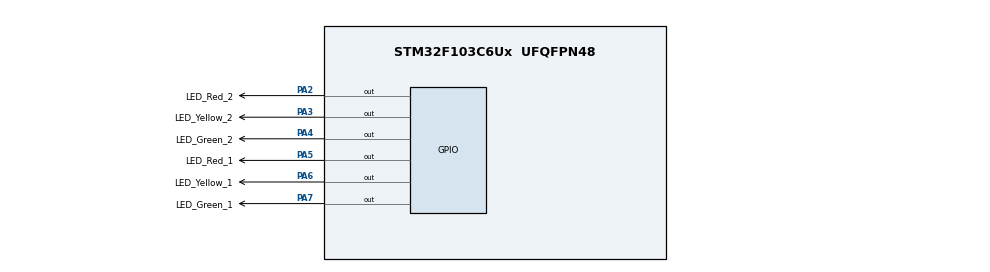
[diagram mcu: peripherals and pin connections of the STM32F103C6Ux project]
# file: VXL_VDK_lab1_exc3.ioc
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Mcu.Family=STM32F1
Mcu.Name=STM32F103C6Ux
Mcu.Package=UFQFPN48
NVIC.PriorityGroup=NVIC_PRIORITYGROUP_4
PA13.Mode=Serial_Wire
PA13.Signal=SYS_JTMS-SWDIO
PA14.Mode=Serial_Wire
PA14.Signal=SYS_JTCK-SWCLK
PA2.GPIO_Label=LED_Red_2
PA2.Signal=GPIO_Output
PA3.GPIO_Label=LED_Yellow_2
PA3.Signal=GPIO_Output
PA4.GPIO_Label=LED_Green_2
PA4.Signal=GPIO_Output
PA5.GPIO_Label=LED_Red_1
PA5.Signal=GPIO_Output
PA6.GPIO_Label=LED_Yellow_1
PA6.Signal=GPIO_Output
PA7.GPIO_Label=LED_Green_1
PA7.Signal=GPIO_Output
ProjectManager.HeapSize=0x200
ProjectManager.StackSize=0x400
ProjectManager.TargetToolchain=STM32CubeIDE
RCC.APB1Freq_Value=8000000
RCC.APB2Freq_Value=8000000
board=custom

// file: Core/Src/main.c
/* USER CODE BEGIN Header */
/**
  ******************************************************************************
  * @file           : main.c
  * @brief          : Main program body
  ******************************************************************************
  * @attention
  *
  * Copyright (c) 2025 STMicroelectronics.
  * All rights reserved.
  *
  * This software is licensed under terms that can be found in the LICENSE file
  * in the root directory of this software component.
  * If no LICENSE file comes with this software, it is provided AS-IS.
  *
  ******************************************************************************
  */
/* USER CODE END Header */
#include "main.h"

/* USER CODE BEGIN Includes */
#include "stdint.h"
/* USER CODE END Includes */

/* USER CODE BEGIN PD */
#define TIMER_SCALE 100
/* USER CODE END PD */

void SystemClock_Config(void);
static void MX_GPIO_Init(void);

int main(void)
{

  /* MCU Configuration--------------------------------------------------------*/

  /* Reset of all peripherals, Initializes the Flash interface and the Systick. */
  HAL_Init();

  /* Configure the system clock */
  SystemClock_Config();

  /* Initialize all configured peripherals */
  MX_GPIO_Init();
  /* USER CODE BEGIN 2 */
  uint16_t led_cnt = 0;

  HAL_GPIO_WritePin(LED_Red_1_GPIO_Port, LED_Red_1_Pin, RESET);
  HAL_GPIO_WritePin(LED_Yellow_1_GPIO_Port, LED_Yellow_1_Pin, SET);
  HAL_GPIO_WritePin(LED_Green_1_GPIO_Port, LED_Green_1_Pin, SET);
  HAL_GPIO_WritePin(LED_Red_2_GPIO_Port, LED_Red_2_Pin, SET);
  HAL_GPIO_WritePin(LED_Yellow_2_GPIO_Port, LED_Yellow_2_Pin, RESET);
  HAL_GPIO_WritePin(LED_Green_2_GPIO_Port, LED_Green_2_Pin, SET);
  /* USER CODE END 2 */

  /* Infinite loop */
  /* USER CODE BEGIN WHILE */
  while (1)
  {

	  /*LED BEHAVIOR CODE BEGIN*/
      // LED 1
	  if(led_cnt<410){
		  HAL_GPIO_WritePin(LED_Red_1_GPIO_Port, LED_Red_1_Pin, RESET);
		  HAL_GPIO_WritePin(LED_Yellow_1_GPIO_Port, LED_Yellow_1_Pin, SET);
		  HAL_GPIO_WritePin(LED_Green_1_GPIO_Port, LED_Green_1_Pin, SET);
	  }
	  else if(led_cnt<574){
		  HAL_GPIO_WritePin(LED_Red_1_GPIO_Port, LED_Red_1_Pin, SET);
		  HAL_GPIO_WritePin(LED_Yellow_1_GPIO_Port, LED_Yellow_1_Pin, SET);
		  HAL_GPIO_WritePin(LED_Green_1_GPIO_Port, LED_Green_1_Pin, RESET);
	  }
	  else if(led_cnt<820){
		  HAL_GPIO_WritePin(LED_Red_1_GPIO_Port, LED_Red_1_Pin, SET);
		  HAL_GPIO_WritePin(LED_Yellow_1_GPIO_Port, LED_Yellow_1_Pin, RESET);
		  HAL_GPIO_WritePin(LED_Green_1_GPIO_Port, LED_Green_1_Pin, SET);
	  }
	  //LED 2
	  if(led_cnt<246){
		  HAL_GPIO_WritePin(LED_Red_2_GPIO_Port, LED_Red_2_Pin, SET);
		  HAL_GPIO_WritePin(LED_Yellow_2_GPIO_Port, LED_Yellow_2_Pin, SET);
		  HAL_GPIO_WritePin(LED_Green_2_GPIO_Port, LED_Green_2_Pin, RESET);
	  }
	  else if(led_cnt<410){
		  HAL_GPIO_WritePin(LED_Red_2_GPIO_Port, LED_Red_2_Pin, SET);
		  HAL_GPIO_WritePin(LED_Yellow_2_GPIO_Port, LED_Yellow_2_Pin, RESET);
		  HAL_GPIO_WritePin(LED_Green_2_GPIO_Port, LED_Green_2_Pin, SET);
	  }
	  else if(led_cnt<820){
		  HAL_GPIO_WritePin(LED_Red_2_GPIO_Port, LED_Red_2_Pin, RESET);
		  HAL_GPIO_WritePin(LED_Yellow_2_GPIO_Port, LED_Yellow_2_Pin, SET);
		  HAL_GPIO_WritePin(LED_Green_2_GPIO_Port, LED_Green_2_Pin, SET);
	  }
	  if(led_cnt>=820) led_cnt = 0;
	  ++led_cnt;
	  /*LED BEHAVIOR CODE END*/

	  HAL_Delay(10);
    /* USER CODE END WHILE */

  }
}

void SystemClock_Config(void)
{
  RCC_OscInitTypeDef RCC_OscInitStruct = {0};
  RCC_ClkInitTypeDef RCC_ClkInitStruct = {0};

  /** Initializes the RCC Oscillators according to the specified parameters
  * in the RCC_OscInitTypeDef structure.
  */
  RCC_OscInitStruct.OscillatorType = RCC_OSCILLATORTYPE_HSI;
  RCC_OscInitStruct.HSIState = RCC_HSI_ON;
  RCC_OscInitStruct.HSICalibrationValue = RCC_HSICALIBRATION_DEFAULT;
  RCC_OscInitStruct.PLL.PLLState = RCC_PLL_NONE;
  if (HAL_RCC_OscConfig(&RCC_OscInitStruct) != HAL_OK)
  {
    Error_Handler();
  }

  /** Initializes the CPU, AHB and APB buses clocks
  */
  RCC_ClkInitStruct.ClockType = RCC_CLOCKTYPE_HCLK|RCC_CLOCKTYPE_SYSCLK
                              |RCC_CLOCKTYPE_PCLK1|RCC_CLOCKTYPE_PCLK2;
  RCC_ClkInitStruct.SYSCLKSource = RCC_SYSCLKSOURCE_HSI;
  RCC_ClkInitStruct.AHBCLKDivider = RCC_SYSCLK_DIV1;
  RCC_ClkInitStruct.APB1CLKDivider = RCC_HCLK_DIV1;
  RCC_ClkInitStruct.APB2CLKDivider = RCC_HCLK_DIV1;

  if (HAL_RCC_ClockConfig(&RCC_ClkInitStruct, FLASH_LATENCY_0) != HAL_OK)
  {
    Error_Handler();
  }
}

static void MX_GPIO_Init(void)
{
  GPIO_InitTypeDef GPIO_InitStruct = {0};

  /* GPIO Ports Clock Enable */
  __HAL_RCC_GPIOA_CLK_ENABLE();

  /*Configure GPIO pin Output Level */
  HAL_GPIO_WritePin(GPIOA, LED_Red_2_Pin|LED_Yellow_2_Pin|LED_Green_2_Pin|LED_Red_1_Pin
                          |LED_Yellow_1_Pin|LED_Green_1_Pin, GPIO_PIN_RESET);

  /*Configure GPIO pins : LED_Red_2_Pin LED_Yellow_2_Pin LED_Green_2_Pin LED_Red_1_Pin
                           LED_Yellow_1_Pin LED_Green_1_Pin */
  GPIO_InitStruct.Pin = LED_Red_2_Pin|LED_Yellow_2_Pin|LED_Green_2_Pin|LED_Red_1_Pin
                          |LED_Yellow_1_Pin|LED_Green_1_Pin;
  GPIO_InitStruct.Mode = GPIO_MODE_OUTPUT_PP;
  GPIO_InitStruct.Pull = GPIO_NOPULL;
  GPIO_InitStruct.Speed = GPIO_SPEED_FREQ_LOW;
  HAL_GPIO_Init(GPIOA, &GPIO_InitStruct);

}

void Error_Handler(void)
{
  __disable_irq();
  while (1)
  {
  }
}
